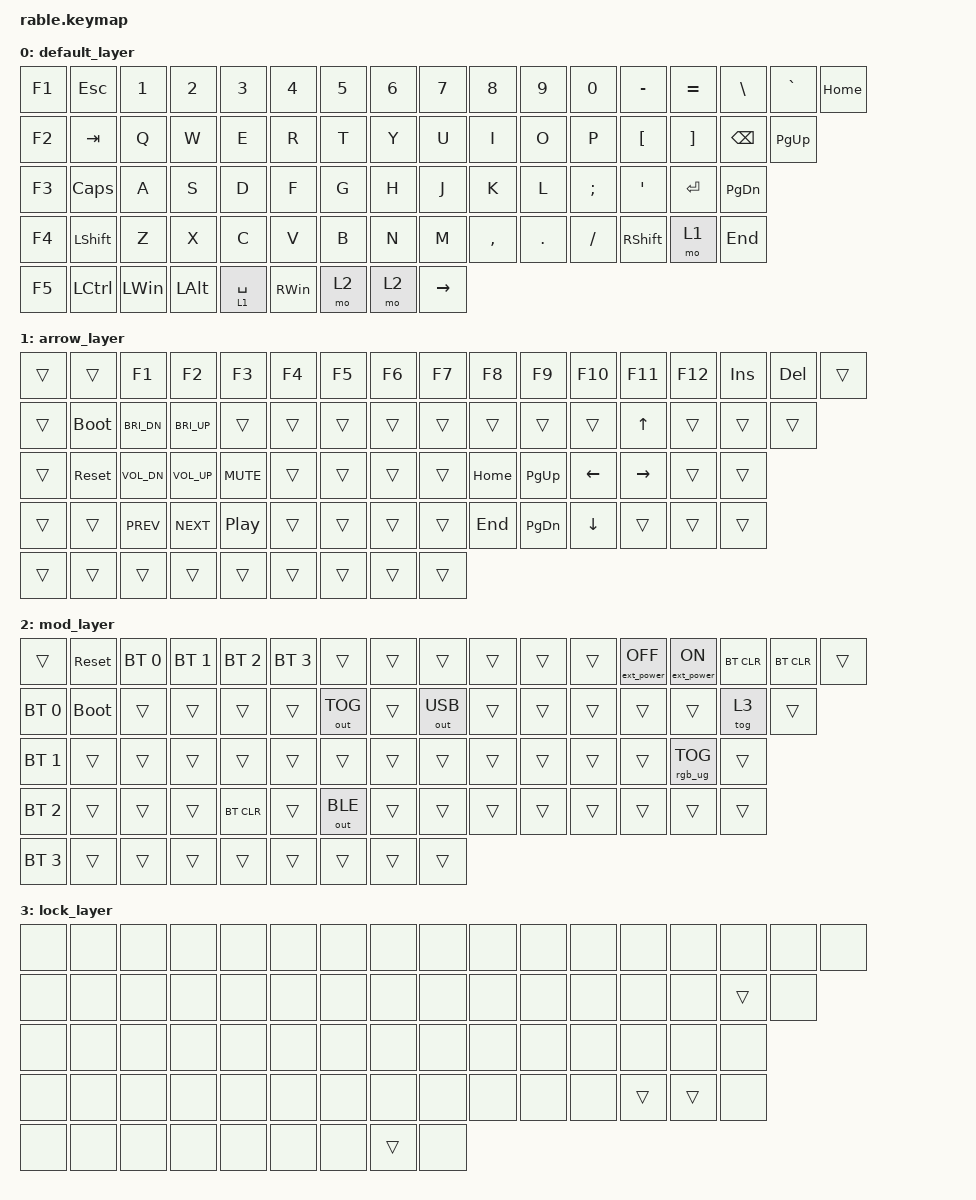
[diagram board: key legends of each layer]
/*
 * Copyright (c) 2021 Nick Winans
 *
 * SPDX-License-Identifier: MIT
 */

#include <behaviors.dtsi>
#include <dt-bindings/zmk/bt.h>
#include <dt-bindings/zmk/ext_power.h>
#include <dt-bindings/zmk/keys.h>
#include <dt-bindings/zmk/outputs.h>
#include <dt-bindings/zmk/rgb.h>

/ {
    keymap {
        compatible = "zmk,keymap";

        default_layer {
            bindings = <
&kp F1  &kp ESC    &kp N1        &kp N2    &kp N3       &kp N4         &kp N5  &kp N6  &kp N7     &kp N8     &kp N9   &kp N0    &kp MINUS        &kp EQUAL  &kp BACKSLASH  &kp GRAVE  &kp HOME
&kp F2  &kp TAB    &kp Q         &kp W     &kp E        &kp R          &kp T   &kp Y   &kp U      &kp I      &kp O    &kp P     &kp LBKT         &kp RBKT   &kp BACKSPACE  &kp PG_UP
&kp F3  &kp CLCK   &kp A         &kp S     &kp D        &kp F          &kp G   &kp H   &kp J      &kp K      &kp L    &kp SEMI  &kp SQT          &kp RET    &kp PG_DN
&kp F4  &kp LSHFT  &kp Z         &kp X     &kp C        &kp V          &kp B   &kp N   &kp M      &kp COMMA  &kp DOT  &kp FSLH  &kp RIGHT_SHIFT  &mo 1      &kp END
&kp F5  &kp LCTRL  &kp LEFT_WIN  &kp LALT  &lt 1 SPACE  &kp RIGHT_WIN  &mo 2   &mo 2   &kp RIGHT
            >;
        };

        arrow_layer {
            bindings = <
&trans  &trans       &kp F1        &kp F2        &kp F3            &kp F4  &kp F5  &kp F6  &kp F7  &kp F8    &kp F9         &kp F10   &kp F11    &kp F12  &kp INS  &kp DEL  &trans
&trans  &bootloader  &kp C_BRI_DN  &kp C_BRI_UP  &trans            &trans  &trans  &trans  &trans  &trans    &trans         &trans    &kp UP     &trans   &trans   &trans
&trans  &sys_reset   &kp C_VOL_DN  &kp C_VOL_UP  &kp C_MUTE        &trans  &trans  &trans  &trans  &kp HOME  &kp PAGE_UP    &kp LEFT  &kp RIGHT  &trans   &trans
&trans  &trans       &kp C_PREV    &kp C_NEXT    &kp C_PLAY_PAUSE  &trans  &trans  &trans  &trans  &kp END   &kp PAGE_DOWN  &kp DOWN  &trans     &trans   &trans
&trans  &trans       &trans        &trans        &trans            &trans  &trans  &trans  &trans
            >;
        };

        mod_layer {
            bindings = <
&trans        &sys_reset   &bt BT_SEL 0  &bt BT_SEL 1  &bt BT_SEL 2  &bt BT_SEL 3  &trans        &trans  &trans        &trans  &trans  &trans  &ext_power EP_OFF  &ext_power EP_ON  &bt BT_CLR  &bt BT_CLR  &trans
&bt BT_SEL 0  &bootloader  &trans        &trans        &trans        &trans        &out OUT_TOG  &trans  &out OUT_USB  &trans  &trans  &trans  &trans             &trans            &tog 3      &trans
&bt BT_SEL 1  &trans       &trans        &trans        &trans        &trans        &trans        &trans  &trans        &trans  &trans  &trans  &trans             &rgb_ug RGB_TOG   &trans
&bt BT_SEL 2  &trans       &trans        &trans        &bt BT_CLR    &trans        &out OUT_BLE  &trans  &trans        &trans  &trans  &trans  &trans             &trans            &trans
&bt BT_SEL 3  &trans       &trans        &trans        &trans        &trans        &trans        &trans  &trans
            >;
        };

        lock_layer {
            bindings = <
&none  &none  &none  &none  &none  &none  &none  &none   &none  &none  &none  &none  &none   &none   &none   &none  &none
&none  &none  &none  &none  &none  &none  &none  &none   &none  &none  &none  &none  &none   &none   &trans  &none
&none  &none  &none  &none  &none  &none  &none  &none   &none  &none  &none  &none  &none   &none   &none
&none  &none  &none  &none  &none  &none  &none  &none   &none  &none  &none  &none  &trans  &trans  &none
&none  &none  &none  &none  &none  &none  &none  &trans  &none
            >;
        };
    };
};
